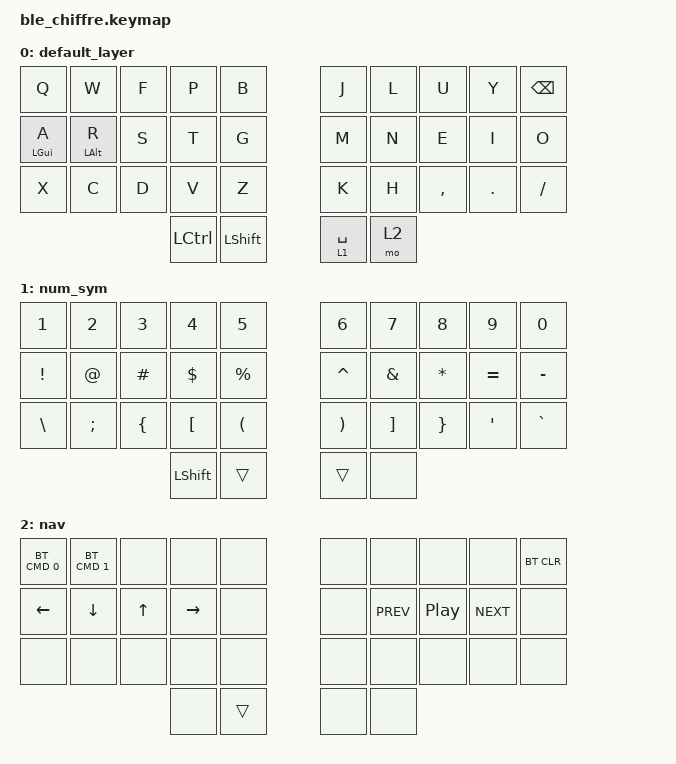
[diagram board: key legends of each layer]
/*
 * Copyright (c) 2020 The ZMK Contributors
 *
 * SPDX-License-Identifier: MIT
 */

#include <behaviors.dtsi>
#include <dt-bindings/zmk/keys.h>
#include <dt-bindings/zmk/bt.h>
#include <dt-bindings/zmk/rgb.h>

#define DEFAULT 0
#define NUM_SYM 1
#define NAV     2

/ {
	behaviors {
		
		bh: layer_taps 
		{
			compatible = "zmk,behavior-hold-tap";
			label = "Layer-Tap";
			#binding-cells = <2>;
			tapping_term_ms = <215>;
            flavor = "tap-preferred";
			bindings = <&mo>, <&kp>;
        };

        hm: homerow_mods0 
		{
			compatible = "zmk,behavior-hold-tap";
			label = "homerow mods";
			#binding-cells = <2>;
			tapping_term_ms = <210>;
            flavor = "tap-preferred";
			bindings = <&kp>, <&kp>;
        };
        
        hm1: homerow_mods1 
		{
			compatible = "zmk,behavior-hold-tap";
			label = "homerow mods";
			#binding-cells = <2>;
			tapping_term_ms = <205>;
            flavor = "tap-preferred";
			bindings = <&kp>, <&kp>;
        };

        hm2: homerow_mods2 
		{
			compatible = "zmk,behavior-hold-tap";
			label = "homerow mods 2";
			#binding-cells = <2>;
			tapping_term_ms = <250>;
            flavor = "tap-preferred";
			bindings = <&kp>, <&kp>;
        };
   	 };
};

/ {
	combos {
		compatible = "zmk,combos";
		combo_esc {
			timeout-ms = <35>;
			key-positions = <13 16>;
			bindings = <&kp ESC>;
		};
		combo_tab {
			timeout-ms = <50>;
			key-positions = <1 2>;
			bindings = <&kp TAB>;
		};
		combo_del {
			timeout-ms = <50>;
			key-positions = <7 8 9>;
			bindings = <&kp DEL>;
		};
		combo_ret {
			timeout-ms = <50>;
			key-positions = <31 32>;
			bindings = <&kp RET>;
		};
	};
};

/ {
    keymap 
	{
    compatible = "zmk,keymap";

    default_layer {
            bindings = <
    &kp Q &kp W &kp F &kp P &kp B &kp J &kp L &kp U &kp Y &kp BSPC
    &hm LGUI A &hm LALT R &kp S &kp T &kp G &kp M &kp N &kp E &kp I &kp O
    &kp X &kp C &kp D &kp V &kp Z &kp K &kp H &kp COMMA &kp DOT &kp FSLH
    &kp LCTL &kp LSHFT &bh 1 SPACE &mo 2 
            >;
        };

    num_sym {
            bindings = <
    &kp N1 &kp N2 &kp N3 &kp N4 &kp N5 &kp N6 &kp N7 &kp N8 &kp N9 &kp N0
    &kp EXCL &kp AT &kp POUND &kp DLLR &kp PRCNT &kp CARET &kp AMPS &kp STAR &kp EQUAL &kp MINUS
    &kp BSLH &kp SEMI &kp LBRC &kp LBKT &kp LPAR &kp RPAR &kp RBKT &kp RBRC &kp SQT &kp GRAVE
    &kp LSHFT &trans &trans &none
            >;
        };

    nav {
            bindings = <
    &bt BT_SEL_CMD 0 &bt BT_SEL_CMD 1 &none &none &none &none &none &none &none &bt BT_CLR
    &kp LEFT &kp DOWN &kp UP &kp RIGHT &none &none &kp C_PREV &kp C_PP &kp C_NEXT &none
    &none &none &none &none &none &none &none &none &none &none
    &none &trans &none &none
            >;
        };
    };
};
